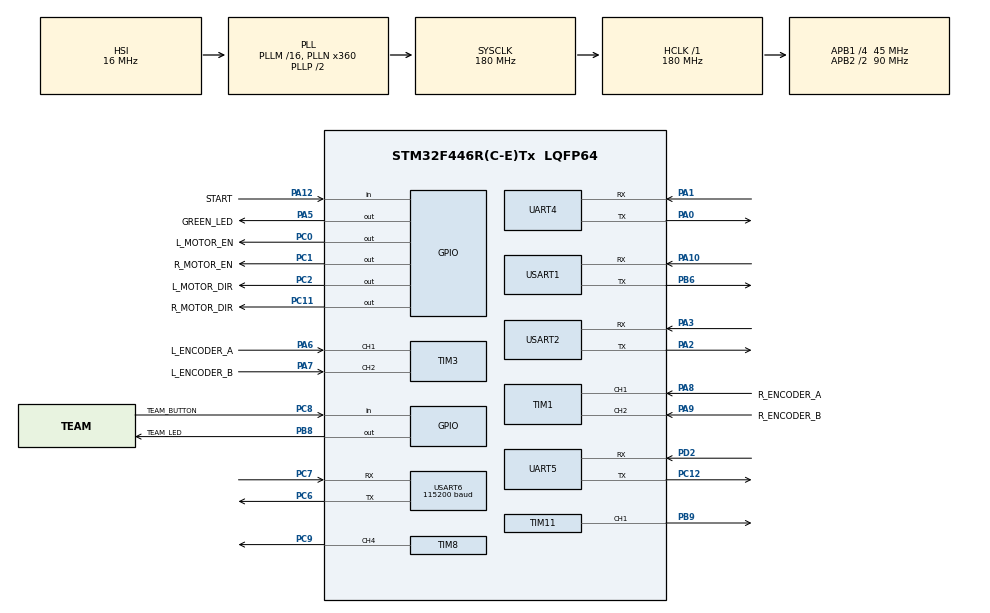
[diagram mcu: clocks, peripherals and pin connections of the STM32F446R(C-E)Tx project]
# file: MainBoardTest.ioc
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Mcu.Family=STM32F4
Mcu.Name=STM32F446R(C-E)Tx
Mcu.Package=LQFP64
NVIC.PriorityGroup=NVIC_PRIORITYGROUP_4
NVIC.TIM1_BRK_TIM9_IRQn=true\:0\:0\:false\:false\:true\:true\:true\:true
NVIC.TIM2_IRQn=true\:0\:0\:false\:false\:true\:true\:true\:true
NVIC.TIM4_IRQn=true\:0\:0\:false\:false\:true\:true\:true\:true
NVIC.TIM5_IRQn=true\:0\:0\:false\:false\:true\:true\:true\:true
NVIC.TIM6_DAC_IRQn=true\:0\:0\:false\:false\:true\:true\:true\:true
NVIC.TIM7_IRQn=true\:2\:0\:true\:false\:true\:true\:true\:true
NVIC.UART4_IRQn=true\:0\:0\:false\:false\:true\:true\:true\:true
NVIC.UART5_IRQn=true\:0\:0\:false\:false\:true\:true\:true\:true
NVIC.USART1_IRQn=true\:0\:0\:false\:false\:true\:true\:true\:true
NVIC.USART6_IRQn=true\:0\:0\:false\:false\:true\:true\:true\:true
PA0-WKUP.Mode=Asynchronous
PA0-WKUP.Signal=UART4_TX
PA1.Mode=Asynchronous
PA1.Signal=UART4_RX
PA10.Mode=Asynchronous
PA10.Signal=USART1_RX
PA12.GPIO_Label=START
PA12.GPIO_PuPd=GPIO_PULLDOWN
PA12.Signal=GPIO_Input
PA2.Mode=Asynchronous
PA2.Signal=USART2_TX
PA3.Mode=Asynchronous
PA3.Signal=USART2_RX
PA5.GPIO_Label=GREEN_LED
PA5.Signal=GPIO_Output
PA6.GPIO_Label=L_ENCODER_A
PA6.Signal=S_TIM3_CH1
PA7.GPIO_Label=L_ENCODER_B
PA7.Signal=S_TIM3_CH2
PA8.GPIO_Label=R_ENCODER_A
PA8.Signal=S_TIM1_CH1
PA9.GPIO_Label=R_ENCODER_B
PA9.Signal=S_TIM1_CH2
PB6.Mode=Asynchronous
PB6.Signal=USART1_TX
PB8.GPIO_Label=TEAM_LED
PB8.Signal=GPIO_Output
PB9.Signal=S_TIM11_CH1
PC0.GPIO_Label=L_MOTOR_EN
PC0.Signal=GPIO_Output
PC1.GPIO_Label=R_MOTOR_EN
PC1.Signal=GPIO_Output
PC11.GPIO_Label=R_MOTOR_DIR
PC11.Signal=GPIO_Output
PC12.Mode=Asynchronous
PC12.Signal=UART5_TX
PC2.GPIO_Label=L_MOTOR_DIR
PC2.Signal=GPIO_Output
PC6.Mode=Asynchronous
PC6.Signal=USART6_TX
PC7.Mode=Asynchronous
PC7.Signal=USART6_RX
PC8.GPIO_Label=TEAM_BUTTON
PC8.GPIO_PuPd=GPIO_PULLDOWN
PC8.Signal=GPIO_Input
PC9.Signal=S_TIM8_CH4
PD2.Mode=Asynchronous
PD2.Signal=UART5_RX
ProjectManager.HeapSize=0x200
ProjectManager.StackSize=0x400
ProjectManager.TargetToolchain=STM32CubeIDE
RCC.48MHZClocksFreq_Value=84000000
RCC.AHBFreq_Value=180000000
RCC.APB1CLKDivider=RCC_HCLK_DIV4
RCC.APB1Freq_Value=45000000
RCC.APB1TimFreq_Value=90000000
RCC.APB2CLKDivider=RCC_HCLK_DIV2
RCC.APB2Freq_Value=90000000
RCC.APB2TimFreq_Value=180000000
RCC.CortexFreq_Value=180000000
RCC.FLatency-AdvancedSettings=FLASH_LATENCY_5
RCC.HCLKFreq_Value=180000000
RCC.HSE_VALUE=8000000
RCC.HSI_VALUE=16000000
RCC.PLLN=360
RCC.SYSCLKFreq_VALUE=180000000
RCC.SYSCLKSource=RCC_SYSCLKSOURCE_PLLCLK
RCC.USBFreq_Value=180000000
RCC.VCOOutputFreq_Value=360000000
SH.S_TIM11_CH1.0=TIM11_CH1,PWM Generation1 CH1
SH.S_TIM1_CH1.0=TIM1_CH1,Encoder_Interface
SH.S_TIM1_CH2.0=TIM1_CH2,Encoder_Interface
SH.S_TIM3_CH1.0=TIM3_CH1,Encoder_Interface
SH.S_TIM3_CH2.0=TIM3_CH2,Encoder_Interface
SH.S_TIM8_CH4.0=TIM8_CH4,PWM Generation4 CH4
TIM1.CounterMode=TIM_COUNTERMODE_UP
TIM1.EncoderMode=TIM_ENCODERMODE_TI12
TIM1.IC1Filter=10
TIM11.Channel=TIM_CHANNEL_1
TIM11.Period=1000
TIM11.Prescaler=179
TIM2.Period=999
TIM2.Prescaler=2686
TIM3.AutoReloadPreload=TIM_AUTORELOAD_PRELOAD_ENABLE
TIM3.CounterMode=TIM_COUNTERMODE_UP
TIM3.EncoderMode=TIM_ENCODERMODE_TI12
TIM4.Period=10000-1
TIM4.Prescaler=9000-1
TIM5.Period=90000
TIM5.Prescaler=9
TIM6.Period=99
TIM6.Prescaler=8999
TIM7.AutoReloadPreload=TIM_AUTORELOAD_PRELOAD_DISABLE
TIM7.Period=9999
TIM7.Prescaler=8999
TIM8.AutoReloadPreload=TIM_AUTORELOAD_PRELOAD_DISABLE
TIM8.Channel-PWM\ Generation4\ CH4=TIM_CHANNEL_4
TIM8.Period=1000
TIM8.Prescaler=179
TIM8.Pulse-PWM\ Generation4\ CH4=500
UART4.VirtualMode=Asynchronous
UART5.VirtualMode=Asynchronous
USART1.VirtualMode=VM_ASYNC
USART2.VirtualMode=VM_ASYNC
USART6.BaudRate=115200
USART6.Parity=PARITY_NONE
USART6.VirtualMode=VM_ASYNC
VP_TIM11_VS_ClockSourceINT.Mode=Enable_Timer
VP_TIM2_VS_ClockSourceINT.Mode=Internal
VP_TIM4_VS_ClockSourceINT.Mode=Internal
VP_TIM5_VS_ClockSourceINT.Mode=Internal
VP_TIM6_VS_ClockSourceINT.Mode=Enable_Timer
VP_TIM7_VS_ClockSourceINT.Mode=Enable_Timer
VP_TIM8_VS_ClockSourceINT.Mode=Internal
board=NUCLEO-F446RE

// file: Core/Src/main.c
/* USER CODE BEGIN Header */
/**
  ******************************************************************************
  * @file           : main.c
  * @brief          : Main program body
  ******************************************************************************
  * @attention
  *
  * <h2><center>&copy; Copyright (c) 2021 STMicroelectronics.
  * All rights reserved.</center></h2>
  *
  * This software component is licensed by ST under BSD 3-Clause license,
  * the "License"; You may not use this file except in compliance with the
  * License. You may obtain a copy of the License at:
  *                        opensource.org/licenses/BSD-3-Clause
  *
  ******************************************************************************
  */
/* USER CODE END Header */
#include "main.h"
#include "tim.h"
#include "usart.h"
#include "gpio.h"

/* USER CODE BEGIN Includes */
#include "config.h"
#include "propulsion.h"
#include "odometry.h"
#include "robot.h"
#include "bezier.h"
#include "strategy.h"
#include "serial.h"
#include "lidar.h"
#include "avoidance.h"
#include "symetry.h"
#include <stdio.h>
#include <math.h>

extern Robot robot;
/* USER CODE END Includes */

void SystemClock_Config(void);

/* USER CODE BEGIN 0 */

int _write(int file, char *ptr, int len) {
	int DataIdx;

	for (DataIdx = 0; DataIdx < len; DataIdx++) {
		HAL_UART_Transmit(&huart2, (uint8_t *) ptr++, 1, HAL_MAX_DELAY);
	}
	return len;
}

/* USER CODE END 0 */

int main(void)
{

  /* MCU Configuration--------------------------------------------------------*/

  /* Reset of all peripherals, Initializes the Flash interface and the Systick. */
  HAL_Init();

  /* Configure the system clock */
  SystemClock_Config();

  /* Initialize all configured peripherals */
  MX_GPIO_Init();
  MX_TIM1_Init();
  MX_TIM8_Init();
  MX_TIM11_Init();
  MX_TIM3_Init();
  MX_TIM7_Init();
  MX_TIM2_Init();
  MX_TIM6_Init();
  MX_TIM4_Init();
  MX_USART2_UART_Init();
  MX_TIM5_Init();
  MX_USART6_UART_Init();
  MX_UART4_Init();
  MX_UART5_Init();
  MX_USART1_UART_Init();
  /* USER CODE BEGIN 2 */
  HAL_TIM_Base_Start(&htim1);
  HAL_TIM_Base_Start(&htim3);
  HAL_TIM_Base_Start_IT(&htim5);
  HAL_TIM_Base_Start_IT(&htim4);

  //HAL_GPIO_TogglePin(GREEN_LED_GPIO_Port, GREEN_LED_Pin);
  printf("Initializing propulsion system...");
  propulsion_initialize();
  propulsion_enableMotors();
  avoidance_initialize();
  HAL_Delay(200);
  printf(" Done.\r\n");

  //HAL_GPIO_TogglePin(GREEN_LED_GPIO_Port, GREEN_LED_Pin);
  printf("Initializing strategy...");
  Strategy* strategy = strategy_initialize();
  int curveIndex = 0;
  int onSiteActionIndex = 0;
  int onMoveActionIndex = 0;

  robot.waitingForOnSiteAction = false;
  robot.waitingForOnMoveAction = false;
  robot.team = YELLOW;
  float t = 0;

  HAL_Delay(200);
  printf(" Done.\r\n");

  //HAL_GPIO_TogglePin(GREEN_LED_GPIO_Port, GREEN_LED_Pin);

  //HAL_GPIO_TogglePin(GREEN_LED_GPIO_Port, GREEN_LED_Pin);
  printf("Initializing lidar...");
  lidar_initialize();
  HAL_Delay(200);
  printf(" Done.\r\n");

  bool waitingForMatchStart = true;

  printf("Waiting for start...\r\n");

  bool teamButtonVal = false;

  while (waitingForMatchStart) {
	  waitingForMatchStart = HAL_GPIO_ReadPin(START_GPIO_Port, START_Pin);

	  if (HAL_GPIO_ReadPin(TEAM_BUTTON_GPIO_Port, TEAM_BUTTON_Pin) && !teamButtonVal) {
		  switchTeam(strategy);
	  }

	  HAL_UART_Receive_IT(&huart6, pData, 1);
	  	  switch(pData[0])
	  	      	{
	  	      	case '0':
	  	      		robot.team = GREEN;
	  	      		break;
	  	      	case '1':
	  	      		robot.team = BLUE;
	  	      		switchTeam(strategy);
	  	            break;
	  	        case '2':
	  	        	robot.team = GREEN;
	  	        	break;
	  	        case '3':
	  	        	robot.team = BLUE;
	  	        	switchTeam(strategy);
	  	        	break;
	  	        case '4':
	  	        	robot.team = GREEN;
	  	        	break;
	  	        case '5':
	  	        	robot.team = BLUE;
	  	        	switchTeam(strategy);
	  	            break;
	  	        case '6':
	  	        	robot.team = GREEN;
	  	            break;
	  	        case '7':
	  	        	robot.team = BLUE;
	  	        	switchTeam(strategy);
	  	            break;
	  	        case '8':
	  	        	robot.team = GREEN;
	  	        	break;
	  	        case '9':
	  	        	robot.team = BLUE;
	  	        	switchTeam(strategy);
	  	        	break;
	  	        default:
	  	        	robot.team = GREEN;
	  	            break;
	  	      	}

	  HAL_GPIO_WritePin(TEAM_LED_GPIO_Port, TEAM_LED_Pin, robot.team == PURPLE);
	  teamButtonVal = HAL_GPIO_ReadPin(TEAM_BUTTON_GPIO_Port, TEAM_BUTTON_Pin);

	  HAL_Delay(50);
	  //printf("%d\r\n", teamButtonVal);
	  //HAL_GPIO_WritePin(GREEN_LED_GPIO_Port, GREEN_LED_Pin, teamButtonVal);
  }

  printf("Initializing odometry...");
  Vector2 start = strategy->path[0]->p1;
  Vector2 startTangent = strategy->path[0]->p2;
  float startAngle = vector2_angle(vector2_diff(startTangent, start));
  odometry_setPosition(start.x, start.y);
  odometry_setAngle(startAngle);
  robot.measuredSpeed = 0;
  HAL_Delay(200);
  printf(" Done.\r\n");

  printf("Go!\r\n");

  //odometry_setPosition(0, 0);
  //odometry_setAngle(0);

  HAL_UART_Receive_IT(&huart4, &lidarData, 1);
  HAL_UART_Receive_IT(&huart6, &armData, 1);
  HAL_UART_Receive_IT(&huart1, &wifiData, 1);
  /* USER CODE END 2 */

  /* Infinite loop */
  /* USER CODE BEGIN WHILE */

  /*while (1) {
	  for (int i=0; i<16; i++) {
		  printf("%d ", i);
		  printf("(%d) ", lidar_timeSinceData[i]);
	  }
	  printf("\r\n");

	  if (!lidar_frontIsClear()) {
		  printf("Front stop!\r\n");
	  }
	  if (!lidar_backIsClear()) {
		  printf("Back stop!\r\n");
	  }

	  HAL_Delay(100);
  }*/

  while (onSiteActionIndex < strategy->onSiteActionsLengths[0]) {
	  uint8_t action = strategy->onSiteActions[0][onSiteActionIndex];
	  serial_send(&action, 1, 6);
	  robot.waitingForOnSiteAction = true;

	  printf("Waiting for 0xFF...\r\n");
	  printf("%d\r\n", robot.waitingForOnSiteAction);
	  while (robot.waitingForOnSiteAction) {}
	  printf("%d\r\n", robot.waitingForOnSiteAction);
	  onSiteActionIndex++;
  }

  printf("About to move...\r\n");

  while (1) {
	  if (onMoveActionIndex < strategy->onMoveActionsLengths[curveIndex]
              && !robot.waitingForOnMoveAction
			  && !robot.waitingForOnSiteAction) {
		  robot.waitingForOnMoveAction = true;
	  }

	  avoidance_update(t, strategy->directions[curveIndex]);

	  if (avoidanceState == PATH_CLEAR && curveIndex < strategy->length) {
		  t = propulsion_followBezier(
				  strategy->path[curveIndex],
				  strategy->directions[curveIndex],
				  strategy->speeds[curveIndex],
				  strategy->speeds[curveIndex+1],
				  false
		  );
	  } else if (avoidanceState == PATH_OBSTRUCTED) {
		  propulsion_setSpeeds(0, 0);
	  } else if (avoidanceState == BACKTRACKING) {
		  t = propulsion_followBezier(
				  strategy->path[curveIndex],
				  strategy->directions[curveIndex],
				  strategy->speeds[curveIndex],
				  strategy->speeds[curveIndex+1],
				  true
		  );
	  }

	  if (t > 0.99 && !robot.waitingForOnMoveAction) {
	      curveIndex = (curveIndex + 1);// % strategy->length;
	      onSiteActionIndex = 0;
	      while (onSiteActionIndex < strategy->onSiteActionsLengths[curveIndex]) {
	    	  uint8_t action = strategy->onSiteActions[curveIndex][onSiteActionIndex];
	    	  serial_send(&action, 1, 6);
	    	  robot.waitingForOnSiteAction = true;

	    	  while (robot.waitingForOnSiteAction) {
	    		  propulsion_setSpeeds(0, 0);
	    	  }
	    	  onSiteActionIndex++;
	      }
	      onMoveActionIndex = 0;
	  }

	  if (curveIndex == strategy->length) {
		  break;
	  }

    /* USER CODE END WHILE */

    /* USER CODE BEGIN 3 */
  }
  propulsion_disableMotors();
  printf("Finished.\r\n");

  while (1) {

  }
  /* USER CODE END 3 */
}

void SystemClock_Config(void)
{
  RCC_OscInitTypeDef RCC_OscInitStruct = {0};
  RCC_ClkInitTypeDef RCC_ClkInitStruct = {0};

  /** Configure the main internal regulator output voltage
  */
  __HAL_RCC_PWR_CLK_ENABLE();
  __HAL_PWR_VOLTAGESCALING_CONFIG(PWR_REGULATOR_VOLTAGE_SCALE1);
  /** Initializes the RCC Oscillators according to the specified parameters
  * in the RCC_OscInitTypeDef structure.
  */
  RCC_OscInitStruct.OscillatorType = RCC_OSCILLATORTYPE_HSI;
  RCC_OscInitStruct.HSIState = RCC_HSI_ON;
  RCC_OscInitStruct.HSICalibrationValue = RCC_HSICALIBRATION_DEFAULT;
  RCC_OscInitStruct.PLL.PLLState = RCC_PLL_ON;
  RCC_OscInitStruct.PLL.PLLSource = RCC_PLLSOURCE_HSI;
  RCC_OscInitStruct.PLL.PLLM = 16;
  RCC_OscInitStruct.PLL.PLLN = 360;
  RCC_OscInitStruct.PLL.PLLP = RCC_PLLP_DIV2;
  RCC_OscInitStruct.PLL.PLLQ = 2;
  RCC_OscInitStruct.PLL.PLLR = 2;
  if (HAL_RCC_OscConfig(&RCC_OscInitStruct) != HAL_OK)
  {
    Error_Handler();
  }
  /** Activate the Over-Drive mode
  */
  if (HAL_PWREx_EnableOverDrive() != HAL_OK)
  {
    Error_Handler();
  }
  /** Initializes the CPU, AHB and APB buses clocks
  */
  RCC_ClkInitStruct.ClockType = RCC_CLOCKTYPE_HCLK|RCC_CLOCKTYPE_SYSCLK
                              |RCC_CLOCKTYPE_PCLK1|RCC_CLOCKTYPE_PCLK2;
  RCC_ClkInitStruct.SYSCLKSource = RCC_SYSCLKSOURCE_PLLCLK;
  RCC_ClkInitStruct.AHBCLKDivider = RCC_SYSCLK_DIV1;
  RCC_ClkInitStruct.APB1CLKDivider = RCC_HCLK_DIV4;
  RCC_ClkInitStruct.APB2CLKDivider = RCC_HCLK_DIV2;

  if (HAL_RCC_ClockConfig(&RCC_ClkInitStruct, FLASH_LATENCY_5) != HAL_OK)
  {
    Error_Handler();
  }
}

void Error_Handler(void)
{
  /* USER CODE BEGIN Error_Handler_Debug */
  /* User can add his own implementation to report the HAL error return state */
  __disable_irq();
  printf("A runtime error occurred.\r\n");
  while (1) {
  }
  /* USER CODE END Error_Handler_Debug */
}
